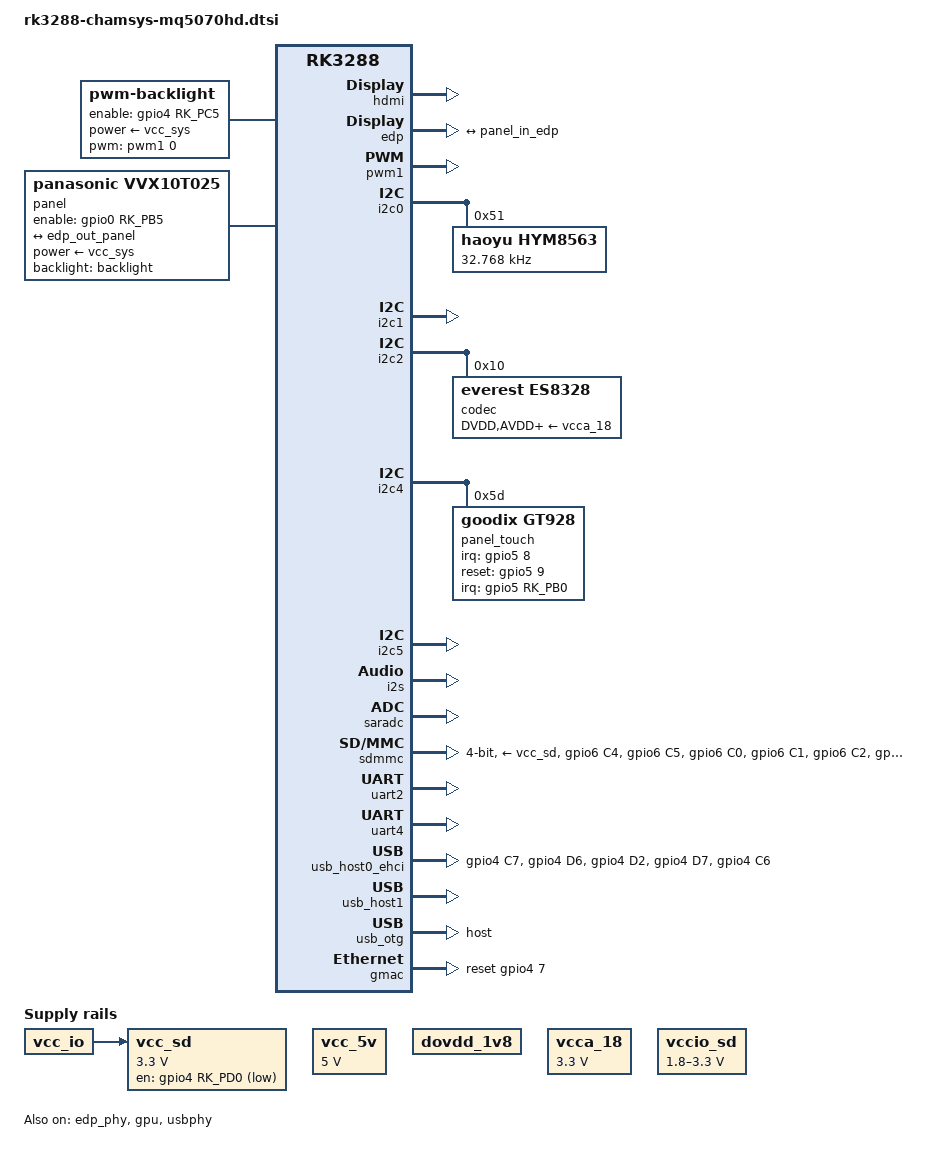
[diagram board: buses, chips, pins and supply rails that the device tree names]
// SPDX-License-Identifier: (GPL-2.0+ OR MIT)
/*
 * Base device tree file for ChamSys Ltd consoles
 * based on the RK3288 + MQ50/70 baseboard.
 */

/dts-v1/;
#include "rk3288-firefly-reload-core.dtsi"

/ {
	compatible = "firefly,firefly-rk3288-reload", "rockchip,rk3288";

	vcc_5v: vcc_sys: vsys-regulator {
		compatible = "regulator-fixed";
		regulator-name = "vcc_5v";
		regulator-min-microvolt = <5000000>;
		regulator-max-microvolt = <5000000>;
		regulator-always-on;
		regulator-boot-on;
	};

	vcc_sd: sdmmc-regulator {
		compatible = "regulator-fixed";
		gpio = <&gpio4 RK_PD0 GPIO_ACTIVE_LOW>;
		pinctrl-names = "default";
		pinctrl-0 = <&sdmmc_pwr>;
		regulator-name = "vcc_sd";
		regulator-min-microvolt = <3300000>;
		regulator-max-microvolt = <3300000>;
		startup-delay-us = <100000>;
		vin-supply = <&vcc_io>;

		// The SD card detect pin is pulled high via this
		// supply, which means when the SD card isn't present
		// the driver gets in an endless not detect -> power
		// off -> detect -> power on -> not detect loop.
		// To fix this, we keep it powered on always.
		regulator-always-on;
		regulator-boot-on;
	};

	/*
	 * Not used but this node needs to exist to keep
	 * &io_domains happy.
	 */
	dovdd_1v8: dovdd-1v8-regulator {
		compatible = "regulator-fixed";
		regulator-name = "dovdd_1v8";
	};

	backlight: backlight {
		compatible = "pwm-backlight";
		brightness-levels = <0 255>;
		num-interpolated-steps = <255>;
		default-brightness-level = <170>;
		pwms = <&pwm1 0 5000000 0>;
		enable-gpios = <&gpio4 RK_PC5 GPIO_ACTIVE_HIGH>;
		post-pwm-on-delay-ms = <10>;
		pwm-off-delay-ms = <10>;
		power-supply = <&vcc_sys>;
	};

	panel: panel {
		compatible = "panasonic,vvx10t025", "simple-panel";
		status = "okay";
		power-supply = <&vcc_sys>;
		backlight = <&backlight>;
		enable-gpios = <&gpio0 RK_PB5 GPIO_ACTIVE_HIGH>;
		delay,prepare = <120>;

		ports {
			panel_in: port {
				panel_in_edp: endpoint {
					remote-endpoint = <&edp_out_panel>;
				};
			};
		};
	};

	sound {
		status = "okay";
		compatible = "rockchip,rk3288-chamsys-audio";
		chamsys,audio-cpu = <&i2s>;
		chamsys,audio-codec = <&codec>;
	};
};

&hdmi {
	ddc-i2c-bus = <&i2c5>;
	pinctrl-names = "default";
	pinctrl-0 = <&hdmi_cec_c0>;
	status = "okay";
};

/* Internal LCD */
&edp {
	status = "okay";
	vcc-supply = <&vdd_10>;
	vccio-supply = <&vcc_18>;
	force-hpd;

	ports {
		edp_out: port@1 {
			reg = <1>;
			#address-cells = <1>;
			#size-cells = <0>;
			edp_out_panel: endpoint@0 {
				reg = <0>;
				remote-endpoint = <&panel_in_edp>;
			};
		};
	};
};

&edp_phy {
	status = "okay";
};

/* Internal LCD backlight */
&pwm1 {
	status = "okay";
};

&gpu {
	status = "okay";
	// This throws an error
	//mali-supply = <&vdd_gpu>;
};

&i2c0 {
	hym8563: hym8563@51 {
		compatible = "haoyu,hym8563";
		reg = <0x51>;
		#clock-cells = <0>;
		clock-frequency = <32768>;
		clock-output-names = "xin32k";
	};
};

// SP: test re-instating system-power-controller
//&act8846 {
	// Shutdown routine causes I2C warning
	// Anyway, we have our own poweroff system on
	// MQ50HD/MQ70HD main board via MCU and relay.
//	/delete-property/ system-power-controller;
//};

/* MAC address EEPROM */
&i2c1 {
	status = "okay";
};

&i2c2 {
	status = "okay";

	codec: es8328@10 {
		status = "okay";
		compatible = "everest,es8328";
		DVDD-supply = <&vcca_18>;
		AVDD-supply = <&vcca_18>;
		PVDD-supply = <&vcca_18>;
		HPVDD-supply = <&vcca_18>;
		clocks = <&cru SCLK_I2S0_OUT>;
		clock-names = "i2s_clk";
		reg = <0x10>;
		#sound-dai-cells = <0>;
	};
};

&i2c4 {
	status = "okay";

	/* Internal touchscreen */
	panel_touch: gt928@5d {
		status = "okay";
		compatible = "goodix,gt928";
		reg = <0x5d>;
		pinctrl-names = "default";
		pinctrl-0 = <&gt928_pins>;
		interrupt-parent = <&gpio5>;
		interrupts = <RK_PB0 IRQ_TYPE_EDGE_FALLING>;
		irq-gpios = <&gpio5 8 GPIO_ACTIVE_HIGH>;
		reset-gpios = <&gpio5 9 GPIO_ACTIVE_HIGH>;
	};
};

/* HDMI DDC */
&i2c5 {
	status = "okay";
};

&i2s {
	status = "okay";
};

&saradc {
	status = "okay";
};

/* SD card */
&sdmmc {
	status = "ok";
	// Increase clock to get full 100MB/s read speed
	max-frequency = <200000000>;
	bus-width = <4>;
	// Unable to support UHS-1 rates reliably
	// SD card is fitted in factory with a Samsung Pro Endurance 32GB
	cap-sd-highspeed;
	disable-wp;
	pinctrl-names = "default";
	pinctrl-0 = <&sdmmc_clk>, <&sdmmc_cmd>, <&sdmmc_cd>, <&sdmmc_bus4>;
	vmmc-supply = <&vcc_sd>;
	vqmmc-supply = <&vccio_sd>;
};

/* eMMC flash storage on Firefly card */
&emmc {
	// Squeeze a bit more read performance
	max-frequency = <200000000>;
};

/* REG7: Should be VCCA_33 (audio power). */
&vcca_18 {
	regulator-min-microvolt = <3300000>;
	regulator-max-microvolt = <3300000>;
};

/* REG8: Should be VCC_LAN. */
&vcca_33 {
	regulator-boot-on;
};

/* REG9: Should be VCC_PMU. */
&vcc_lan {
	regulator-always-on;
};

&vccio_sd {
	// 1.8V for UHS rates
	regulator-always-on;
	regulator-min-microvolt = <1800000>;
	regulator-max-microvolt = <3300000>;
};

&vccio_wl {
	regulator-always-on;
};

/* This shares the same pins as the touchscreen. */
&uart1 {
  status = "disabled";
};

/* Debug */
&uart2 {
	status = "okay";
};

/* Comms to power control MCU */
&uart4 {
	status = "okay";
};

&usbphy {
	status = "okay";
};

/* USB hub (WIFI, external USB ports) */
&usb_host0_ehci {
	status = "okay";

	// Force state of wifi wake lines
	pinctrl-names = "default";
	pinctrl-0 = <&rtl8821cu_pins>;
};

/* Front panel */
&usb_host1 {
	status = "okay";
};

/* Top right rear USB port */
&usb_otg {
	status = "okay";
	dr_mode = "host";
};

&gmac {
	snps,reset-gpio = <&gpio4 7 0>;
	pinctrl-0 = <&rgmii_pins>;
	max-speed = <100>;
};

&pinctrl {
	/* SD card */
	sdmmc {
		/*
		 * Default drive strength isn't enough to achieve even
		 * high-speed mode on firefly board so bump up to 12ma.
		 */
		sdmmc_bus4: sdmmc-bus4 {
			rockchip,pins = <6 RK_PC0 1 &pcfg_pull_up_drv_12ma>,
					<6 RK_PC1 1 &pcfg_pull_up_drv_12ma>,
					<6 RK_PC2 1 &pcfg_pull_up_drv_12ma>,
					<6 RK_PC3 1 &pcfg_pull_up_drv_12ma>;
		};

		sdmmc_clk: sdmmc-clk {
			rockchip,pins = <6 RK_PC4 1 &pcfg_pull_none_12ma>;
		};

		sdmmc_cmd: sdmmc-cmd {
			rockchip,pins = <6 RK_PC5 1 &pcfg_pull_up_drv_12ma>;
		};

		sdmmc_pwr: sdmmc-pwr {
			rockchip,pins = <4 RK_PD0 RK_FUNC_GPIO &pcfg_pull_none>;
		};
	};

	/* Internal touchscreen */
	gt928 {
		gt928_pins: gt928_pins {
			rockchip,pins = <5 RK_PB0 RK_FUNC_GPIO &pcfg_pull_up>,
				<5 RK_PB1 RK_FUNC_GPIO &pcfg_pull_up>;
		};
	};

	/* Wifi host/chip wake lines */
	rtl8821cu {
		rtl8821cu_pins: rtl8821-pins {
			rockchip,pins =
				<4 RK_PC7 RK_FUNC_GPIO &pcfg_pull_none>, // Host wake WL (out)
				<4 RK_PD6 RK_FUNC_GPIO &pcfg_pull_none>, // WL wake host (in)
				<4 RK_PD2 RK_FUNC_GPIO &pcfg_pull_none>, // Host wake BT (out)
				<4 RK_PD7 RK_FUNC_GPIO &pcfg_pull_none>, // BT wake host (in)
				<4 RK_PC6 RK_FUNC_GPIO &pcfg_pull_none>; // WPS (out)
		};
	};
};
